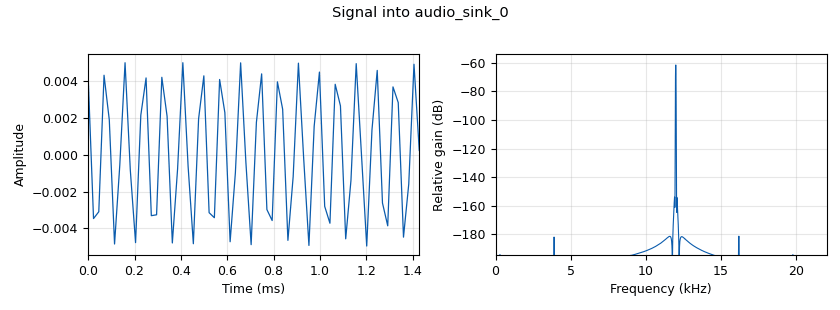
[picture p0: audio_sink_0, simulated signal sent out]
options:
  parameters:
    generate_options: qt_gui
    id: sound_test_with_chirp
    output_language: python
    title: Sound test with chirp
  states: {}

blocks:
- name: access_key
  id: variable
  parameters:
    value: '''11100001010110101110100010010011'''
  states: {}
- name: samp_rate
  id: variable
  parameters:
    value: '44100'
  states: {}
- name: sine_freq
  id: variable_qtgui_range
  parameters:
    start: '10'
    step: '10'
    stop: '20000'
    value: '12000'
  states: {}
- name: analog_sig_source_x_0
  id: analog_sig_source_x
  parameters:
    amp: '0.005'
    freq: sine_freq
    offset: '0'
    phase: '0'
    samp_rate: samp_rate
    type: float
    waveform: analog.GR_SIN_WAVE
  states: {}
- name: audio_sink_0
  id: audio_sink
  parameters:
    samp_rate: samp_rate
  states: {}
- name: audio_source_0
  id: audio_source
  parameters:
    samp_rate: samp_rate
  states: {}
- name: blocks_message_strobe_0
  id: blocks_message_strobe
  parameters:
    msg: pmt.cons(pmt.make_dict(), pmt.to_pmt([0.18, 0.52, 0.86, 0.120, -0.18, -0.52, -0.86, 0.120]))
    period: '100'
  states: {}
- name: epy_block_0
  id: epy_block
  parameters:
    _source_code: "import numpy as np\nfrom gnuradio import gr\nimport pmt\n\nclass msg_injector(gr.sync_block):\n    def __init__(self):\n        gr.sync_block.__init__(\n            self,\n            name='Message Injector',\n            in_sig=[np.float32],   # Now accepts a continuous float stream as input\n            out_sig=[np.float32],\n        )\n        # Register the message input port.\n        self.message_port_register_in(pmt.intern(\"in\"))\n        self.set_msg_handler(pmt.intern(\"in\"), self.handle_msg)\n        # Buffer to hold injected message payload samples.\n        self.buffer = np.array([], dtype=np.float32)\n\n    def handle_msg(self, msg):\n        # Check that msg is a pair (dict, payload)\n        if pmt.is_pair(msg):\n            payload = pmt.cdr(msg)\n            # Convert the PMT payload to a Python list.\n            # This assumes the payload was created as a PMT float vector.\n            data = np.array(pmt.to_python(payload), dtype=np.float32)\n            # Append the new message data to the current buffer.\n            self.buffer = np.concatenate([self.buffer, data])\n\n    def work(self, input_items, output_items):\n        # Get the continuous input stream.\n        in0 = input_items[0]\n        out = output_items[0]\n        num_output_items = len(out)\n\n        # Start by copying the input stream to output.\n        out[:] = in0[:num_output_items]\n\n        # If we have any message data buffered, add it onto the first samples.\n        if self.buffer.size > 0:\n            n = min(num_output_items, self.buffer.size)\n            out[:n] += self.buffer[:n]\n            # Remove the consumed samples from the buffer.\n            self.buffer = self.buffer[n:]\n\n        return num_output_items\n\n"
  states: {}
- name: import_0
  id: import
  parameters:
    imports: import math
  states: {}
- name: qtgui_time_sink_x_0
  id: qtgui_time_sink_x
  parameters:
    autoscale: 'True'
    ctrlpanel: 'True'
    label1: Output Sine
    label2: Input Sine
    nconnections: '2'
    size: '1024'
    srate: samp_rate
    type: float
  states: {}

connections:
- [analog_sig_source_x_0, '0', epy_block_0, '0']
- [audio_source_0, '0', qtgui_time_sink_x_0, '1']
- [blocks_message_strobe_0, strobe, epy_block_0, in]
- [epy_block_0, '0', audio_sink_0, '0']
- [epy_block_0, '0', qtgui_time_sink_x_0, '0']

metadata:
  file_format: 1
  grc_version: 3.10.9.2
